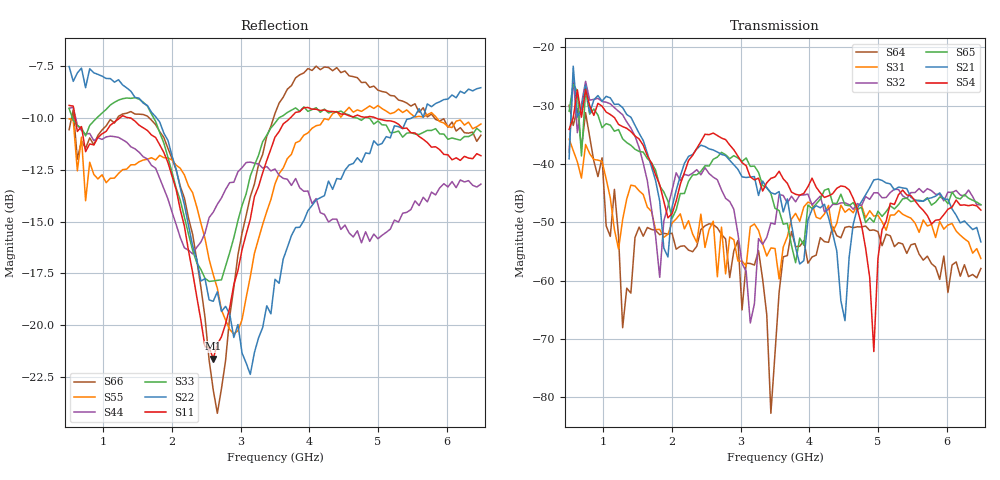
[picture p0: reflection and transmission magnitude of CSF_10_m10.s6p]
!Keysight Technologies,M9804A,MY58100912,A.14.10.03
!Date: Thursday, April 27, 2023 10:28:33
!Correction: S11(C  6-Port  )
!S12(C  6-Port  )
!S13(C  6-Port  )
!S14(C  6-Port  )
!S15(C  6-Port  )
!S16(C  6-Port  )
!S21(C  6-Port  )
!S22(C  6-Port  )
!S23(C  6-Port  )
!S24(C  6-Port  )
!S25(C  6-Port  )
!S26(C  6-Port  )
!S31(C  6-Port  )
!S32(C  6-Port  )
!S33(C  6-Port  )
!S34(C  6-Port  )
!S35(C  6-Port  )
!S36(C  6-Port  )
!S41(C  6-Port  )
!S42(C  6-Port  )
!S43(C  6-Port  )
!S44(C  6-Port  )
!S45(C  6-Port  )
!S46(C  6-Port  )
!S51(C  6-Port  )
!S52(C  6-Port  )
!S53(C  6-Port  )
!S54(C  6-Port  )
!S55(C  6-Port  )
!S56(C  6-Port  )
!S61(C  6-Port  )
!S62(C  6-Port  )
!S63(C  6-Port  )
!S64(C  6-Port  )
!S65(C  6-Port  )
!S66(C  6-Port  )
!S6P File: Measurement: :
# Hz S  RI  R 50
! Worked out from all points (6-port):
!   101 points, 500 MHz to 6.5 GHz, reference 50 ohm
!   strongest paths, dB at 500 MHz, 2 GHz, 3.5 GHz, 5 GHz, 6.5 GHz:
!     S54: -34.1, -48.5, -42.2, -56.2, -47.9
!     S21: -39.1, -47.4, -45.2, -42.6, -53.4
!     S65: -30.9, -49.3, -47.6, -48.1, -47.0
!     S32: -37.9, -44.5, -50.3, -44.9, -47.0
!     S31: -35.7, -50.1, -54.5, -48.8, -56.2
!     S64: -29.9, -51.9, -72.5, -51.6, -57.9
!   lowest |S11| = -21.6 dB at 2.6 GHz (marker M1), VSWR 1.18, Z = 42.6 + j2.07 ohm
!   |S11| at or under -10 dB: 588.5 MHz to 1.234 GHz (645.9 MHz wide, 70.9 % of centre); 1.402 GHz to 3.719 GHz (2.317 GHz wide, 90.5 % of centre); 4.974 GHz to end of sweep
